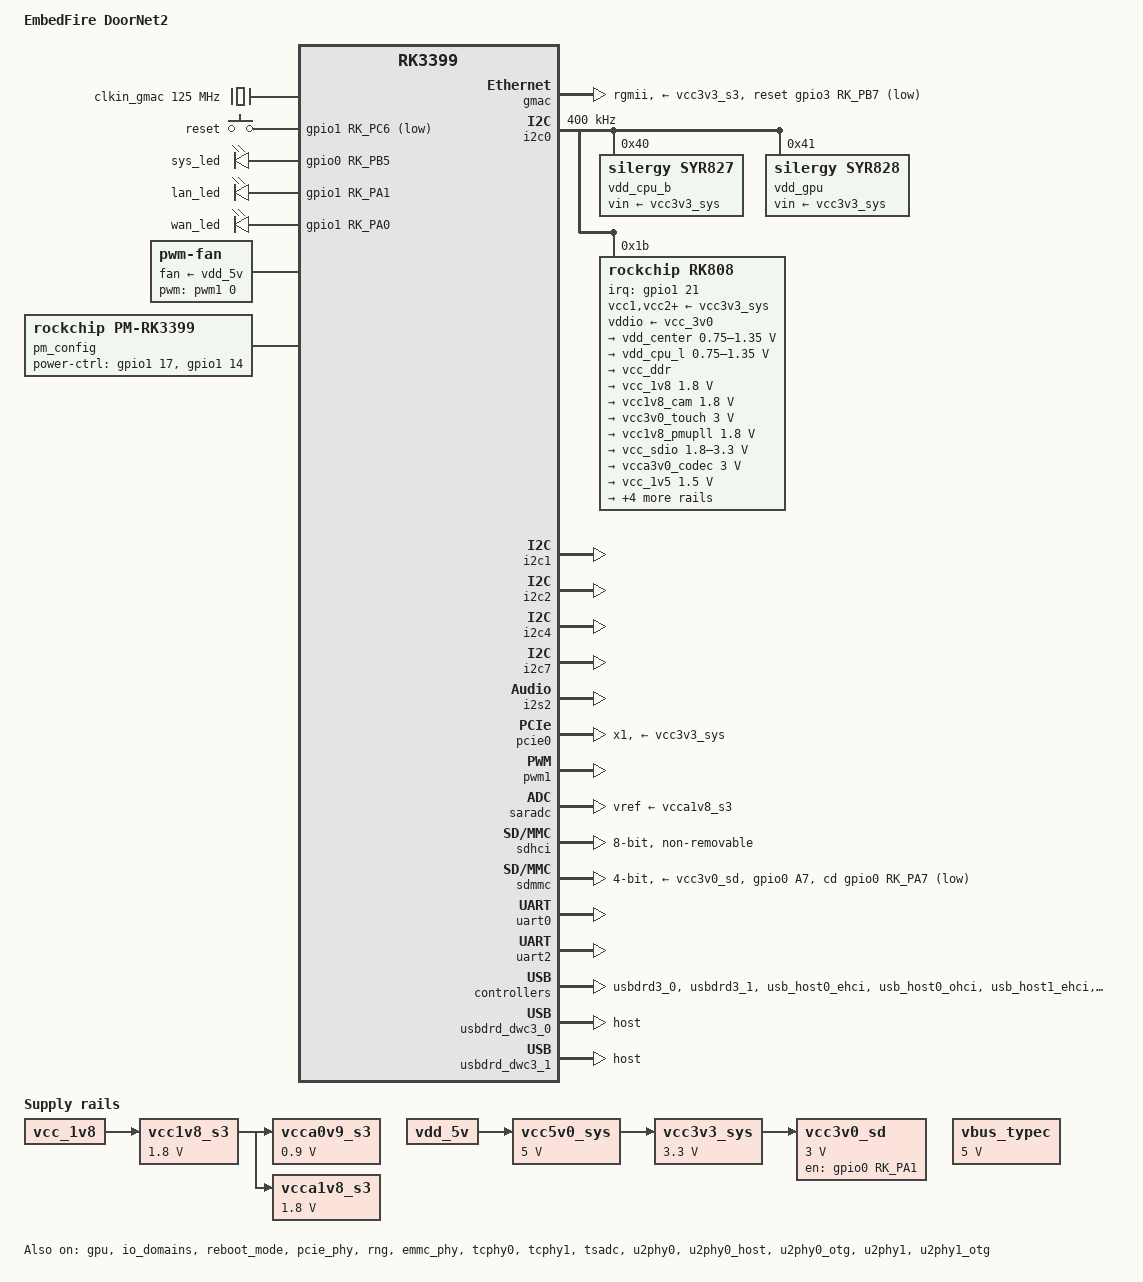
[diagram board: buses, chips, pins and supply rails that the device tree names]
// SPDX-License-Identifier: (GPL-2.0+ OR MIT)

/dts-v1/;
#include <dt-bindings/input/linux-event-codes.h>
#include <dt-bindings/soc/rockchip,suspend.h>
#include "rk3399.dtsi"
#include "rk3399-opp.dtsi"

/ {
	model = "EmbedFire DoorNet2";
	compatible = "embedfire,doornet2", "rockchip,rk3399";

	/delete-node/ display-subsystem;

	aliases: aliases {
		ethernet1 = &r8169;
		// mmc0 = &sdmmc;
		// mmc1 = &sdio0;
		// mmc2 = &sdhci;
	};

	chosen: chosen {
		bootargs = "swiotlb=1 coherent_pool=1m";
		stdout-path = "serial2:1500000n8";
	};

	clkin_gmac: external-gmac-clock {
		compatible = "fixed-clock";
		clock-frequency = <125000000>;
		clock-output-names = "clkin_gmac";
		#clock-cells = <0>;
	};

	vcc3v3_sys: vcc3v3-sys {
		compatible = "regulator-fixed";
		regulator-always-on;
		regulator-boot-on;
		regulator-min-microvolt = <3300000>;
		regulator-max-microvolt = <3300000>;
		regulator-name = "vcc3v3_sys";
		vin-supply = <&vcc5v0_sys>;
	};

	vcc5v0_sys: vcc5v0-sys {
		compatible = "regulator-fixed";
		regulator-always-on;
		regulator-boot-on;
		regulator-min-microvolt = <5000000>;
		regulator-max-microvolt = <5000000>;
		regulator-name = "vcc5v0_sys";
		vin-supply = <&vdd_5v>;
	};

	vdd_5v: vdd-5v {
		compatible = "regulator-fixed";
		regulator-name = "vdd_5v";
		regulator-always-on;
		regulator-boot-on;
	};

	/* switched by pmic_sleep */
	vcc1v8_s3: vcc1v8-s3 {
		compatible = "regulator-fixed";
		regulator-always-on;
		regulator-boot-on;
		regulator-min-microvolt = <1800000>;
		regulator-max-microvolt = <1800000>;
		regulator-name = "vcc1v8_s3";
		vin-supply = <&vcc_1v8>;
	};

	vcc3v0_sd: vcc3v0-sd {
		compatible = "regulator-fixed";
		enable-active-high;
		gpio = <&gpio0 RK_PA1 GPIO_ACTIVE_HIGH>;
		pinctrl-names = "default";
		pinctrl-0 = <&sdmmc0_pwr_h>;
		regulator-always-on;
		regulator-min-microvolt = <3000000>;
		regulator-max-microvolt = <3000000>;
		regulator-name = "vcc3v0_sd";
		vin-supply = <&vcc3v3_sys>;
	};

	/*
	 * Really, this is supplied by vcc_1v8, and vcc1v8_s3 only
	 * drives the enable pin, but we can't quite model that.
	 */
	vcca0v9_s3: vcca0v9-s3 {
		compatible = "regulator-fixed";
		regulator-min-microvolt = <900000>;
		regulator-max-microvolt = <900000>;
		regulator-name = "vcca0v9_s3";
		vin-supply = <&vcc1v8_s3>;
	};

	/* As above, actually supplied by vcc3v3_sys */
	vcca1v8_s3: vcca1v8-s3 {
		compatible = "regulator-fixed";
		regulator-min-microvolt = <1800000>;
		regulator-max-microvolt = <1800000>;
		regulator-name = "vcca1v8_s3";
		vin-supply = <&vcc1v8_s3>;
	};

	vbus_typec: vbus-typec {
		compatible = "regulator-fixed";
		regulator-min-microvolt = <5000000>;
		regulator-max-microvolt = <5000000>;
		regulator-name = "vbus_typec";
	};

	keys: gpio-keys {
		compatible = "gpio-keys";
		autorepeat;
		pinctrl-names = "default";
		pinctrl-0 = <&reset_button_pin>;

		reset {
			debounce-interval = <50>;
			gpios = <&gpio1 RK_PC6 GPIO_ACTIVE_LOW>;
			label = "reset";
			linux,code = <KEY_RESTART>;
		};
	};

	leds: gpio-leds {
		compatible = "gpio-leds";
		pinctrl-names = "default";
		pinctrl-0 = <&leds_pin>;

		sys_led: led-1 {
			gpios = <&gpio0 RK_PB5 GPIO_ACTIVE_HIGH>;
			label = "sys_led";
			linux,default-trigger = "heartbeat";
		};

		lan_led: led-2 {
			gpios = <&gpio1 RK_PA1 GPIO_ACTIVE_HIGH>;
			label = "lan_led";
		};

		wan_len: led-3 {
			gpios = <&gpio1 RK_PA0 GPIO_ACTIVE_HIGH>;
			label = "wan_led";
		};
	};

	fan: pwm-fan {
		compatible = "pwm-fan";
		/* FIXME: adjust leveles for the connected fan */
		cooling-levels = <0 12 18 255>;
		#cooling-cells = <2>;
		fan-supply = <&vdd_5v>;
		pwms = <&pwm1 0 50000 0>;
	};

	pm_config: rockchip-suspend {
		compatible = "rockchip,pm-rk3399";
		rockchip,sleep-debug-en = <1>;
		rockchip,sleep-mode-config = <
			(0
			| RKPM_SLP_ARMPD
			| RKPM_SLP_PERILPPD
			| RKPM_SLP_DDR_RET
			| RKPM_SLP_PLLPD
			| RKPM_SLP_CENTER_PD
			| RKPM_SLP_AP_PWROFF
			)
			>;
		rockchip,wakeup-config = <
			(0
			| RKPM_GPIO_WKUP_EN
			| RKPM_PWM_WKUP_EN
			)
			>;
		rockchip,pwm-regulator-config = <
			(0
			| PWM2_REGULATOR_EN
			)
			>;
		rockchip,power-ctrl =
			<&gpio1 17 GPIO_ACTIVE_HIGH>,
			<&gpio1 14 GPIO_ACTIVE_HIGH>;
		status = "okay";
	};
};

&cpu_b0 {
	cpu-supply = <&vdd_cpu_b>;
};

&cpu_b1 {
	cpu-supply = <&vdd_cpu_b>;
};

&cpu_l0 {
	cpu-supply = <&vdd_cpu_l>;
};

&cpu_l1 {
	cpu-supply = <&vdd_cpu_l>;
};

&cpu_l2 {
	cpu-supply = <&vdd_cpu_l>;
};

&cpu_l3 {
	cpu-supply = <&vdd_cpu_l>;
};

&cpu_thermal {
	trips {
		cpu_warm: cpu_warm {
			temperature = <55000>;
			hysteresis = <2000>;
			type = "active";
		};

		cpu_hot: cpu_hot {
			temperature = <65000>;
			hysteresis = <2000>;
			type = "active";
		};
	};

	cooling-maps {
		map2 {
			trip = <&cpu_warm>;
			cooling-device = <&fan THERMAL_NO_LIMIT 1>;
		};

		map3 {
			trip = <&cpu_hot>;
			cooling-device = <&fan 2 THERMAL_NO_LIMIT>;
		};
	};
};

&gmac {
	assigned-clocks = <&cru SCLK_RMII_SRC>;
	assigned-clock-parents = <&clkin_gmac>;
	clock_in_out = "input";
	phy-supply = <&vcc3v3_s3>;
	phy-mode = "rgmii";
	pinctrl-names = "default";
	pinctrl-0 = <&rgmii_pins>;
	snps,reset-gpio = <&gpio3 RK_PB7 GPIO_ACTIVE_LOW>;
	snps,reset-active-low;
	snps,reset-delays-us = <0 100000 50000>;
	tx_delay = <0x13>;
	rx_delay = <0xe>;
	status = "okay";
};

&gpu {
	mali-supply = <&vdd_gpu>;
	status = "okay";
};

&i2c0 {
	clock-frequency = <400000>;
	i2c-scl-rising-time-ns = <160>;
	i2c-scl-falling-time-ns = <30>;
	status = "okay";

	vdd_cpu_b: regulator@40 {
		compatible = "silergy,syr827";
		reg = <0x40>;
		fcs,suspend-voltage-selector = <1>;
		pinctrl-names = "default";
		pinctrl-0 = <&cpu_b_sleep>;
		regulator-always-on;
		regulator-boot-on;
		regulator-min-microvolt = <712500>;
		regulator-max-microvolt = <1500000>;
		regulator-name = "vdd_cpu_b";
		regulator-ramp-delay = <1000>;
		vin-supply = <&vcc3v3_sys>;

		regulator-state-mem {
			regulator-off-in-suspend;
		};
	};

	vdd_gpu: regulator@41 {
		compatible = "silergy,syr828";
		reg = <0x41>;
		fcs,suspend-voltage-selector = <1>;
		pinctrl-names = "default";
		pinctrl-0 = <&gpu_sleep>;
		regulator-always-on;
		regulator-boot-on;
		regulator-min-microvolt = <712500>;
		regulator-max-microvolt = <1500000>;
		regulator-name = "vdd_gpu";
		regulator-ramp-delay = <1000>;
		vin-supply = <&vcc3v3_sys>;

		regulator-state-mem {
			regulator-off-in-suspend;
		};
	};

	rk808: pmic@1b {
		compatible = "rockchip,rk808";
		reg = <0x1b>;
		clock-output-names = "xin32k", "rtc_clko_wifi";
		#clock-cells = <1>;
		interrupt-parent = <&gpio1>;
		interrupts = <21 IRQ_TYPE_LEVEL_LOW>;
		pinctrl-names = "default";
		pinctrl-0 = <&pmic_int_l>;
		rockchip,system-power-controller;
		wakeup-source;

		vcc1-supply = <&vcc3v3_sys>;
		vcc2-supply = <&vcc3v3_sys>;
		vcc3-supply = <&vcc3v3_sys>;
		vcc4-supply = <&vcc3v3_sys>;
		vcc6-supply = <&vcc3v3_sys>;
		vcc7-supply = <&vcc3v3_sys>;
		vcc8-supply = <&vcc3v3_sys>;
		vcc9-supply = <&vcc3v3_sys>;
		vcc10-supply = <&vcc3v3_sys>;
		vcc11-supply = <&vcc3v3_sys>;
		vcc12-supply = <&vcc3v3_sys>;
		vddio-supply = <&vcc_3v0>;

		regulators {
			vdd_center: DCDC_REG1 {
				regulator-always-on;
				regulator-boot-on;
				regulator-min-microvolt = <750000>;
				regulator-max-microvolt = <1350000>;
				regulator-name = "vdd_center";
				regulator-ramp-delay = <6001>;

				regulator-state-mem {
					regulator-off-in-suspend;
				};
			};

			vdd_cpu_l: DCDC_REG2 {
				regulator-always-on;
				regulator-boot-on;
				regulator-min-microvolt = <750000>;
				regulator-max-microvolt = <1350000>;
				regulator-name = "vdd_cpu_l";
				regulator-ramp-delay = <6001>;

				regulator-state-mem {
					regulator-off-in-suspend;
				};
			};

			vcc_ddr: DCDC_REG3 {
				regulator-always-on;
				regulator-boot-on;
				regulator-name = "vcc_ddr";

				regulator-state-mem {
					regulator-on-in-suspend;
				};
			};

			vcc_1v8: DCDC_REG4 {
				regulator-always-on;
				regulator-boot-on;
				regulator-min-microvolt = <1800000>;
				regulator-max-microvolt = <1800000>;
				regulator-name = "vcc_1v8";

				regulator-state-mem {
					regulator-on-in-suspend;
					regulator-suspend-microvolt = <1800000>;
				};
			};

			vcc1v8_cam: LDO_REG1 {
				regulator-always-on;
				regulator-boot-on;
				regulator-min-microvolt = <1800000>;
				regulator-max-microvolt = <1800000>;
				regulator-name = "vcc1v8_cam";

				regulator-state-mem {
					regulator-off-in-suspend;
				};
			};

			vcc3v0_touch: LDO_REG2 {
				regulator-always-on;
				regulator-boot-on;
				regulator-min-microvolt = <3000000>;
				regulator-max-microvolt = <3000000>;
				regulator-name = "vcc3v0_touch";

				regulator-state-mem {
					regulator-off-in-suspend;
				};
			};

			vcc1v8_pmupll: LDO_REG3 {
				regulator-always-on;
				regulator-boot-on;
				regulator-min-microvolt = <1800000>;
				regulator-max-microvolt = <1800000>;
				regulator-name = "vcc1v8_pmupll";

				regulator-state-mem {
					regulator-on-in-suspend;
					regulator-suspend-microvolt = <1800000>;
				};
			};

			vcc_sdio: LDO_REG4 {
				regulator-always-on;
				regulator-boot-on;
				regulator-init-microvolt = <3000000>;
				regulator-min-microvolt = <1800000>;
				regulator-max-microvolt = <3300000>;
				regulator-name = "vcc_sdio";

				regulator-state-mem {
					regulator-on-in-suspend;
					regulator-suspend-microvolt = <3000000>;
				};
			};

			vcca3v0_codec: LDO_REG5 {
				regulator-always-on;
				regulator-boot-on;
				regulator-min-microvolt = <3000000>;
				regulator-max-microvolt = <3000000>;
				regulator-name = "vcca3v0_codec";

				regulator-state-mem {
					regulator-off-in-suspend;
				};
			};

			vcc_1v5: LDO_REG6 {
				regulator-always-on;
				regulator-boot-on;
				regulator-min-microvolt = <1500000>;
				regulator-max-microvolt = <1500000>;
				regulator-name = "vcc_1v5";

				regulator-state-mem {
					regulator-on-in-suspend;
					regulator-suspend-microvolt = <1500000>;
				};
			};

			vcca1v8_codec: LDO_REG7 {
				regulator-always-on;
				regulator-boot-on;
				regulator-min-microvolt = <1800000>;
				regulator-max-microvolt = <1800000>;
				regulator-name = "vcca1v8_codec";

				regulator-state-mem {
					regulator-off-in-suspend;
				};
			};

			vcc_3v0: LDO_REG8 {
				regulator-always-on;
				regulator-boot-on;
				regulator-min-microvolt = <3000000>;
				regulator-max-microvolt = <3000000>;
				regulator-name = "vcc_3v0";

				regulator-state-mem {
					regulator-on-in-suspend;
					regulator-suspend-microvolt = <3000000>;
				};
			};

			vcc3v3_s3: SWITCH_REG1 {
				regulator-always-on;
				regulator-boot-on;
				regulator-name = "vcc3v3_s3";

				regulator-state-mem {
					regulator-off-in-suspend;
				};
			};

			vcc3v3_s0: SWITCH_REG2 {
				regulator-always-on;
				regulator-boot-on;
				regulator-name = "vcc3v3_s0";

				regulator-state-mem {
					regulator-off-in-suspend;
				};
			};
		};
	};
};

&i2c1 {
	status = "okay";
};

&i2c2 {
	status = "okay";
};

&i2c4 {
	status = "okay";
};

&i2c7 {
	status = "okay";
};

&i2s2 {
	status = "okay";
};

&io_domains {
	bt656-supply = <&vcc_1v8>;
	audio-supply = <&vcca1v8_codec>;
	sdmmc-supply = <&vcc_sdio>;
	gpio1830-supply = <&vcc_3v0>;
	status = "okay";
};

&reboot_mode {
	status = "okay";
};

&pcie_phy {
	assigned-clock-parents = <&cru SCLK_PCIEPHY_REF100M>;
	assigned-clock-rates = <100000000>;
	assigned-clocks = <&cru SCLK_PCIEPHY_REF>;
	status = "okay";
};

&pcie0 {
	ep-gpios = <&gpio2 RK_PA4 GPIO_ACTIVE_HIGH>;
	max-link-speed = <1>;
	num-lanes = <1>;
	vpcie0v9-supply = <&vcca0v9_s3>;
	vpcie1v8-supply = <&vcca1v8_s3>;
	vpcie3v3-supply = <&vcc3v3_sys>;
	status = "okay";

	pcie@0 {
		reg = <0x00000000 0 0 0 0>;
		#address-cells = <3>;
		#size-cells = <2>;

		r8169: pcie@0,0 {
			reg = <0x000000 0 0 0 0>;
			local-mac-address = [ 00 00 00 00 00 00 ];
		};
	};
};

&pinctrl {
	fusb30x {
		fusb0_int: fusb0-int {
			rockchip,pins = <1 RK_PA2 RK_FUNC_GPIO &pcfg_pull_up>;
		};
	};

	gpio-leds {
		leds_pin: status-led-pin {
				rockchip,pins =
					<0 RK_PB5 RK_FUNC_GPIO &pcfg_pull_none>,
					<1 RK_PA0 RK_FUNC_GPIO &pcfg_pull_none>,
					<1 RK_PA1 RK_FUNC_GPIO &pcfg_pull_none>;
		};
	};

	ethernet-phy {
		eth_phy_reset_pin: eth-phy-reset-pin {
			rockchip,pins = <3 RK_PB7 RK_FUNC_GPIO &pcfg_pull_down>;
		};
	};

	pmic {
		cpu_b_sleep: cpu-b-sleep {
			rockchip,pins = <1 RK_PC1 RK_FUNC_GPIO &pcfg_pull_down>;
		};

		gpu_sleep: gpu-sleep {
			rockchip,pins = <1 RK_PB6 RK_FUNC_GPIO &pcfg_pull_down>;
		};

		pmic_int_l: pmic-int-l {
			rockchip,pins = <1 RK_PC5 RK_FUNC_GPIO &pcfg_pull_up>;
		};
	};

	rockchip-key {
		reset_button_pin: reset-button-pin {
			rockchip,pins = <1 RK_PC6 RK_FUNC_GPIO &pcfg_pull_up>;
		};
	};

	sdmmc {
		sdmmc0_det_l: sdmmc0-det-l {
			rockchip,pins = <0 RK_PA7 RK_FUNC_GPIO &pcfg_pull_up>;
		};

		sdmmc0_pwr_h: sdmmc0-pwr-h {
			rockchip,pins = <0 RK_PA1 RK_FUNC_GPIO &pcfg_pull_none>;
		};
	};
};

&pmu_io_domains {
	pmu1830-supply = <&vcc_3v0>;
	status = "okay";
};

&pwm1 {
	status = "okay";
};

&rng {
	status = "okay";
};

&saradc {
	vref-supply = <&vcca1v8_s3>;
	status = "okay";
};

&emmc_phy {
	status = "okay";
};

&sdhci {
	bus-width = <8>;
	mmc-ddr-1_8v;
	mmc-hs200-1_8v;
	non-removable;
	status = "okay";
};

&sdmmc {
	bus-width = <4>;
	cap-sd-highspeed;
	cap-mmc-highspeed;
	cd-gpios = <&gpio0 RK_PA7 GPIO_ACTIVE_LOW>;
	disable-wp;
	host-index-min = <0>;
	pinctrl-names = "default";
	pinctrl-0 = <&sdmmc_bus4 &sdmmc_clk &sdmmc_cmd &sdmmc0_det_l>;
	sd-uhs-sdr104;
	vmmc-supply = <&vcc3v0_sd>;
	vqmmc-supply = <&vcc_sdio>;
	status = "okay";
};

&tcphy0 {
	status = "okay";
};

&tcphy1 {
	status = "okay";
};

&tsadc {
	/* tshut mode 0:CRU 1:GPIO */
	rockchip,hw-tshut-mode = <1>;
	/* tshut polarity 0:LOW 1:HIGH */
	rockchip,hw-tshut-polarity = <1>;
	status = "okay";
};

&u2phy0 {
	status = "okay";
};

&u2phy0_host {
	phy-supply = <&vdd_5v>;
	status = "okay";
};

&u2phy0_otg {
	status = "okay";
};

&u2phy1 {
	status = "okay";
};

&u2phy1_otg {
	status = "okay";
};

&uart0 {
	status = "okay";
};

&uart2 {
	status = "okay";
};

&usbdrd3_0 {
	status = "okay";
};

&usbdrd3_1 {
	status = "okay";
};

&usbdrd_dwc3_0 {
	snps,xhci-slow-suspend-quirk;
	snps,xhci-trb-ent-quirk;
	dr_mode = "host";
	status = "okay";
};

&usbdrd_dwc3_1 {
	snps,xhci-slow-suspend-quirk;
	snps,xhci-trb-ent-quirk;
	dr_mode = "host";
	status = "okay";
};

&usb_host0_ehci {
	status = "okay";
};

&usb_host0_ohci {
	status = "okay";
};

&usb_host1_ehci {
	status = "okay";
};

&usb_host1_ohci {
	status = "okay";
};
